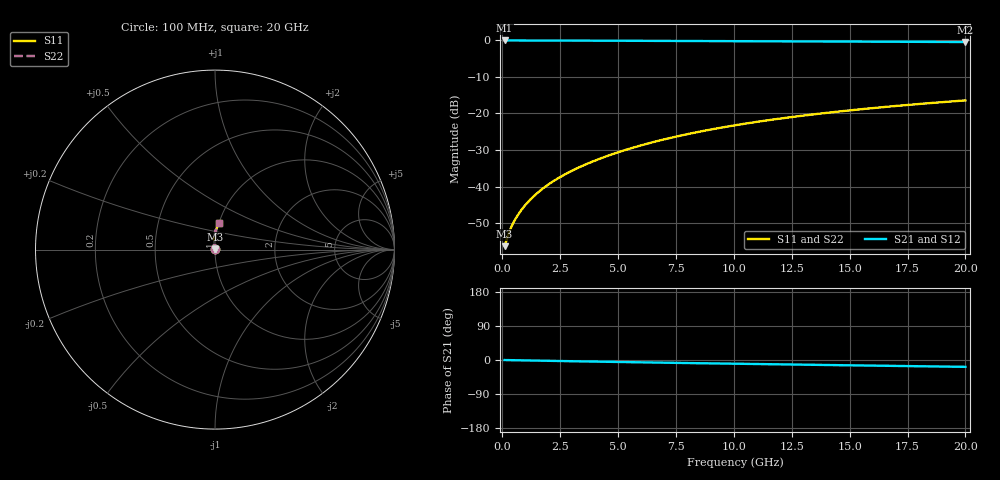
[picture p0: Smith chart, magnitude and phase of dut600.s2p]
! Touchstone file exported from HFSS 2024.1.0
!  File:  C:/UserFiles/LocalFiles/RDL_TSV_Batchsim/temp_RDL_top_600_1779779399.aedt
!  Generated:  03:12:26 PM May 26, 2026
!  Design:  RDL_top
!  Project:  temp_RDL_top_600_1779779399
!  Setup:  Setup1
!  Solution:  Sweep
! Variables:
!  dtsv = 10.80580581um
!  hbump = 3um
!  htsv = 75.6um
!  ldown = 100um
!  lrdl = 263.15um
!  p = 40
!  p1 = 45.35um
!  rhole = 1um
!  t = 450um
!  tdown = 3.915915916um
!  trdl = 3.04um
!  wdown = 15.38538539um
!  wrdl = 28.44um
# GHz S MA R 50.000000
! Terminal data exported
! Port[1] = Box2_T1
! Port[2] = Box2_T2
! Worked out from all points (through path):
!   200 points, 100 MHz to 20 GHz, reference 50 ohm
!   highest |S21| = -0.01 dB at 100 MHz (marker M1); lowest = -0.4 dB at 20 GHz (marker M2)
!   group delay of S21, straight-line fit = 2.47 ps
!   lowest |S11| = -56.3 dB at 100 MHz (marker M3), VSWR 1.00, Z = 50.1 + j0.0658 ohm
!   |S11| at or under -10 dB: start of sweep to end of sweep
!   |S22| runs from -56.3 to -16.4 dB; largest |S21 - S12| = 5.5e-15
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0.1  0.001527 25.5  0.9986 -0.1  0.9986 -0.1  0.001527 25.5
! Gamma 0 0 0 0
! Port Impedance 50 0 50 0
0.3  0.002389 49.8  0.9984 -0.3  0.9984 -0.3  0.002389 49.8
0.4  0.002845 55.6  0.9983 -0.5  0.9983 -0.5  0.002845 55.6
0.5  0.003295 60.0  0.9982 -0.6  0.9982 -0.6  0.003295 60.0
0.6  0.003745 63.6  0.9981 -0.7  0.9981 -0.7  0.003745 63.6
0.8  0.004661 69.1  0.9979 -0.9  0.9979 -0.9  0.004661 69.1
1  0.005605 73.3  0.9977 -1.1  0.9977 -1.1  0.005605 73.3
1.2  0.006578 76.6  0.9975 -1.3  0.9975 -1.3  0.006578 76.6
1.7  0.009121 82.3  0.9969 -1.9  0.9969 -1.9  0.009121 82.3
2.2  0.01181 86.1  0.9961 -2.4  0.9961 -2.4  0.01181 86.1
2.8  0.01522 89.2  0.995 -3.0  0.995 -3.0  0.01522 89.2
3.5  0.01945 91.6  0.9934 -3.7  0.9934 -3.7  0.01945 91.6
4.2  0.02396 93.2  0.9916 -4.4  0.9916 -4.4  0.02396 93.2
5  0.02942 94.4  0.9894 -5.2  0.9894 -5.2  0.02942 94.4
5.9  0.03592 94.9  0.9867 -6.1  0.9867 -6.1  0.03592 94.9
6.8  0.04273 95.0  0.984 -7.0  0.984 -7.0  0.04273 95.0
8.4  0.0554 94.3  0.9792 -8.4  0.9792 -8.4  0.05541 94.3
10.1  0.06935 92.8  0.9744 -9.9  0.9744 -9.9  0.06936 92.9
11.7  0.08269 91.2  0.97 -11.3  0.97 -11.3  0.0827 91.2
13.4  0.09691 89.2  0.9657 -12.7  0.9657 -12.7  0.09692 89.2
16.7  0.1243 85.4  0.958 -15.4  0.958 -15.4  0.1243 85.4
20  0.151 81.7  0.9506 -18.1  0.9506 -18.1  0.151 81.7
